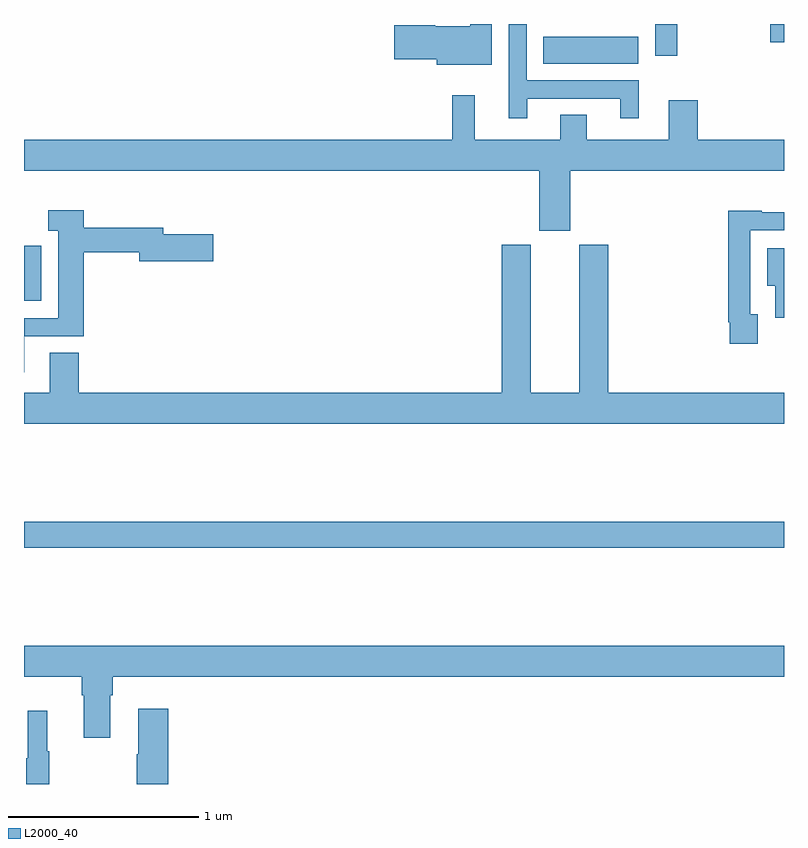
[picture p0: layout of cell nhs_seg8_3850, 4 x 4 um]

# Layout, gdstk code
import gdstk
lib = gdstk.Library(unit=1e-6, precision=1e-09)
def R(c, l, rs):  # rectangles x0, y0, x1, y1
    for r in rs: c.add(gdstk.rectangle(r[:2], r[2:], *l))
def P(c, l, *ps):  # polygons
    for p in ps: c.add(gdstk.Polygon(p, *l))
L2000_40 = (2000, 40)

nhs_seg8_3850 = lib.new_cell('nhs_seg8_3850')
R(nhs_seg8_3850, L2000_40, [(347,1153.144,351,1153.28), (347,1154.444,347.092,1154.734), (349.732,1155.692,350.233,1155.832), (350.322,1155.732,350.438,1155.9), (350.928,1155.803,351,1155.9)])
P(nhs_seg8_3850, L2000_40, [(349.461,1155.9),(349.349,1155.9),(349.349,1155.888),(349.164,1155.888),(349.164,1155.893),(348.948,1155.893),(348.948,1155.715),(349.172,1155.715),(349.172,1155.686),(349.461,1155.686)],
  [(349.648,1155.507),(350.138,1155.507),(350.138,1155.405),(350.236,1155.405),(350.236,1155.603),(349.647,1155.603),(349.647,1155.9),(349.551,1155.9),(349.551,1155.405),(349.648,1155.405)],
  [(349.876,1155.128),(351,1155.128),(351,1155.292),(350.546,1155.292),(350.546,1155.499),(350.393,1155.499),(350.393,1155.292),(349.963,1155.292),(349.963,1155.422),(349.823,1155.422),(349.823,1155.292),(349.373,1155.292),(349.373,1155.526),(349.255,1155.526),(349.255,1155.292),(347,1155.292),(347,1155.128),(349.712,1155.128),(349.712,1154.811),(349.876,1154.811)],
  [(347.002,1154.256),(347.315,1154.256),(347.315,1154.698),(347.606,1154.698),(347.606,1154.651),(347.995,1154.651),(347.995,1154.793),(347.734,1154.793),(347.734,1154.827),(347.315,1154.827),(347.315,1154.921),(347.127,1154.921),(347.127,1154.811),(347.18,1154.811),(347.18,1154.352),(347,1154.352),(347,1154.067),(347.002,1154.067)],
  [(350.863,1154.373),(350.823,1154.373),(350.823,1154.814),(351,1154.814),(351,1154.91),(350.883,1154.91),(350.883,1154.917),(350.707,1154.917),(350.707,1154.329),(350.715,1154.329),(350.715,1154.217),(350.863,1154.217)],
  [(351,1153.96),(350.075,1153.96),(350.075,1154.739),(349.922,1154.739),(349.922,1153.96),(349.666,1153.96),(349.666,1154.739),(349.514,1154.739),(349.514,1153.96),(347.288,1153.96),(347.288,1154.171),(347.135,1154.171),(347.135,1153.96),(347,1153.96),(347,1153.796),(351,1153.796)],
  [(351,1154.719),(350.912,1154.719),(350.912,1154.522),(350.954,1154.522),(350.954,1154.353),(351,1154.353)],
  [(347.455,1152.368),(347.468,1152.368),(347.468,1152.464),(351,1152.464),(351,1152.628),(347,1152.628),(347,1152.464),(347.303,1152.464),(347.303,1152.368),(347.315,1152.368),(347.315,1152.144),(347.455,1152.144)],
  [(347.759,1152.295),(347.6,1152.295),(347.6,1152.056),(347.593,1152.056),(347.593,1151.9),(347.759,1151.9)],
  [(347.134,1152.073),(347.123,1152.073),(347.123,1152.286),(347.02,1152.286),(347.02,1152.036),(347.013,1152.036),(347.013,1151.9),(347.134,1151.9)])

lib.write_gds('nhs_seg8_3850.gds')
